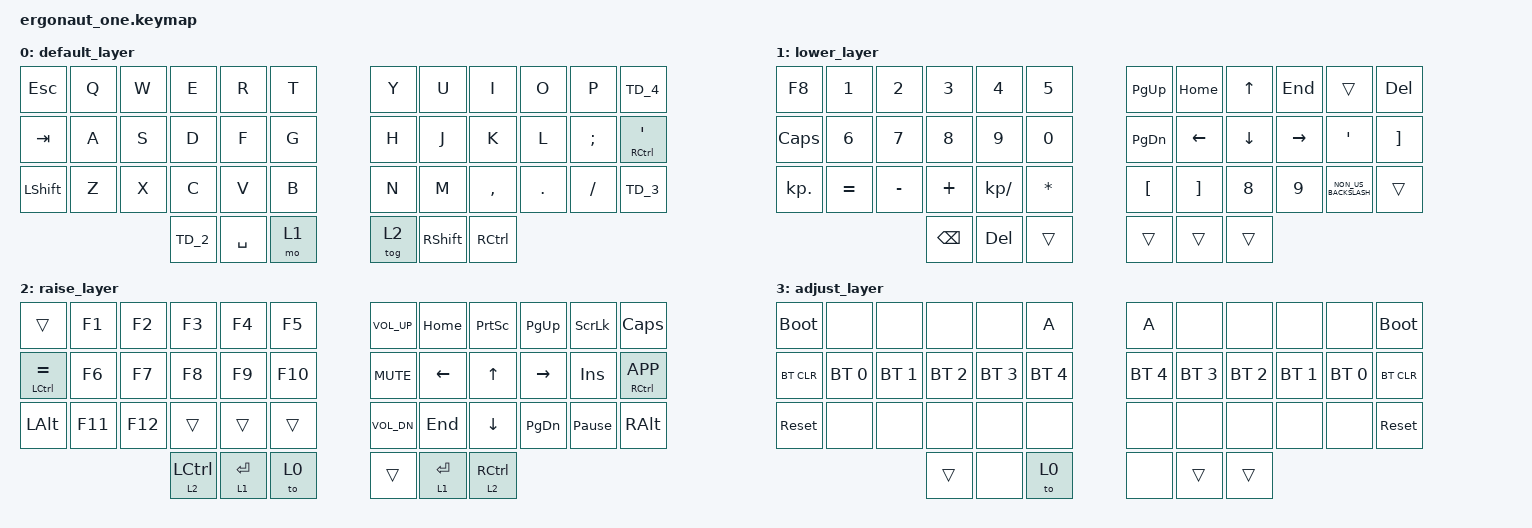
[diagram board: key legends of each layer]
#include <behaviors.dtsi>
#include <dt-bindings/zmk/bt.h>
#include <dt-bindings/zmk/keys.h>

#define DEF 0
#define LWR 1
#define RSE 2
#define ADJ 3

&lt { quick-tap-ms = <200>; };

&mt { quick-tap-ms = <200>; };

/ {
    conditional_layers {
        compatible = "zmk,conditional-layers";

        tri-layer {
            if-layers = <1 2>;
            then-layer = <3>;
        };
    };

    behaviors {
        TD_1: TD_1 {
            compatible = "zmk,behavior-tap-dance";
            label = "TD_1";
            #binding-cells = <0>;
            bindings = <&kp SPACE>, <&kp ENTER>;
        };

        TD_2: TD_2 {
            compatible = "zmk,behavior-tap-dance";
            label = "TD_2";
            #binding-cells = <0>;
            bindings = <&kp LCTRL>, <&kp LALT>;

            tapping-term-ms = <300>;
        };

        TD_3: TD_3 {
            compatible = "zmk,behavior-tap-dance";
            label = "TD_3";
            #binding-cells = <0>;
            bindings = <&kp LA(PRINTSCREEN)>, <&kp LEFT_GUI>;

            tapping-term-ms = <300>;
        };

        TD_4: TD_4 {
            compatible = "zmk,behavior-tap-dance";
            label = "TD_4";
            #binding-cells = <0>;
            bindings = <&kp BACKSPACE>, <&kp DEL>;

            tapping-term-ms = <300>;
        };
    };

    combos {
        compatible = "zmk,combos";

        esc {
            bindings = <&kp ESC>;
            key-positions = <3 4>;
            timeout-ms = <50>;
            require-prior-idle-ms = <10>;
            layers = <0>;
        };

        F_8 {
            bindings = <&kp F8>;
            key-positions = <3 4>;
            timeout-ms = <50>;
            require-prior-idle-ms = <10>;
            layers = <1>;
        };

        tabe {
            bindings = <&kp TAB>;
            key-positions = <15 16>;
            timeout-ms = <50>;
            require-prior-idle-ms = <10>;
        };

        caps {
            bindings = <&kp CAPS>;
            key-positions = <14 13>;
            timeout-ms = <50>;
            require-prior-idle-ms = <10>;
        };

        lshift {
            bindings = <&kp LEFT_SHIFT>;
            key-positions = <27 28>;
            timeout-ms = <50>;
            require-prior-idle-ms = <10>;
            layers = <0>;
        };

        point {
            bindings = <&kp KP_DOT>;
            key-positions = <27 26>;
            timeout-ms = <50>;
            require-prior-idle-ms = <10>;
            layers = <1>;
        };

        td_4 {
            bindings = <&TD_4>;
            key-positions = <7 8>;
            timeout-ms = <50>;
            require-prior-idle-ms = <10>;
            layers = <0>;
        };

        ay {
            bindings = <&kp SQT>;
            key-positions = <19 20>;
            timeout-ms = <50>;
            require-prior-idle-ms = <10>;
            layers = <0>;
        };

        td_3 {
            bindings = <&TD_3>;
            key-positions = <31 32>;
            timeout-ms = <50>;
            require-prior-idle-ms = <10>;
            layers = <0>;
        };

        entr {
            bindings = <&kp ENTER>;
            key-positions = <37 38>;
            timeout-ms = <50>;
            require-prior-idle-ms = <10>;
        };

        back {
            bindings = <&kp LC(BACKSPACE)>;
            key-positions = <14 15>;
            timeout-ms = <50>;
            require-prior-idle-ms = <10>;
            layers = <0>;
        };
    };

    keymap {
        compatible = "zmk,keymap";

        default_layer {
            bindings = <
&kp ESCAPE  &kp Q  &kp W  &kp E  &kp R      &kp T  &kp Y   &kp U      &kp I      &kp O    &kp P     &TD_4
&kp TAB     &kp A  &kp S  &kp D  &kp F      &kp G  &kp H   &kp J      &kp K      &kp L    &kp SEMI  &mt RCTRL SQT
&kp LSHFT   &kp Z  &kp X  &kp C  &kp V      &kp B  &kp N   &kp M      &kp COMMA  &kp DOT  &kp FSLH  &TD_3
                          &TD_2  &kp SPACE  &mo 1  &tog 2  &kp RSHFT  &kp RCTRL
            >;
        };

        lower_layer {
            bindings = <
&kp F8      &kp NUMBER_1  &kp NUMBER_2  &kp NUMBER_3   &kp NUMBER_4  &kp N5        &kp PG_UP         &kp HOME           &kp UP_ARROW  &kp END    &trans                &kp DEL
&kp CLCK    &kp NUMBER_6  &kp N7        &kp N8         &kp N9        &kp N0        &kp PAGE_DOWN     &kp LEFT           &kp DOWN      &kp RIGHT  &kp SQT               &kp RIGHT_BRACKET
&kp KP_DOT  &kp EQUAL     &kp MINUS     &kp PLUS       &kp KP_SLASH  &kp ASTERISK  &kp LEFT_BRACKET  &kp RIGHT_BRACKET  &kp N8        &kp N9     &kp NON_US_BACKSLASH  &trans
                                        &kp BACKSPACE  &kp DELETE    &trans        &trans            &trans             &trans
            >;
        };

        raise_layer {
            bindings = <
&trans           &kp F1   &kp F2   &kp F3              &kp F4       &kp F5   &kp C_VOL_UP  &kp HOME     &kp PSCRN            &kp PG_UP  &kp SLCK         &kp CLCK
&mt LCTRL EQUAL  &kp F6   &kp F7   &kp F8              &kp F9       &kp F10  &kp C_MUTE    &kp LEFT     &kp UP               &kp RIGHT  &kp INS          &mt RCTRL K_APP
&kp LALT         &kp F11  &kp F12  &trans              &trans       &trans   &kp C_VOL_DN  &kp END      &kp DOWN             &kp PG_DN  &kp PAUSE_BREAK  &kp RALT
                                   &lt 2 LEFT_CONTROL  &lt 1 ENTER  &to 0    &trans        &lt 1 ENTER  &lt 2 RIGHT_CONTROL
            >;
        };

        adjust_layer {
            bindings = <
&bootloader  &none         &none         &none         &none         &kp A         &kp A         &none         &none         &none         &none         &bootloader
&bt BT_CLR   &bt BT_SEL 0  &bt BT_SEL 1  &bt BT_SEL 2  &bt BT_SEL 3  &bt BT_SEL 4  &bt BT_SEL 4  &bt BT_SEL 3  &bt BT_SEL 2  &bt BT_SEL 1  &bt BT_SEL 0  &bt BT_CLR
&sys_reset   &none         &none         &none         &none         &none         &none         &none         &none         &none         &none         &sys_reset
                                         &trans        &none         &to 0         &none         &trans        &trans
            >;
        };
    };
};
